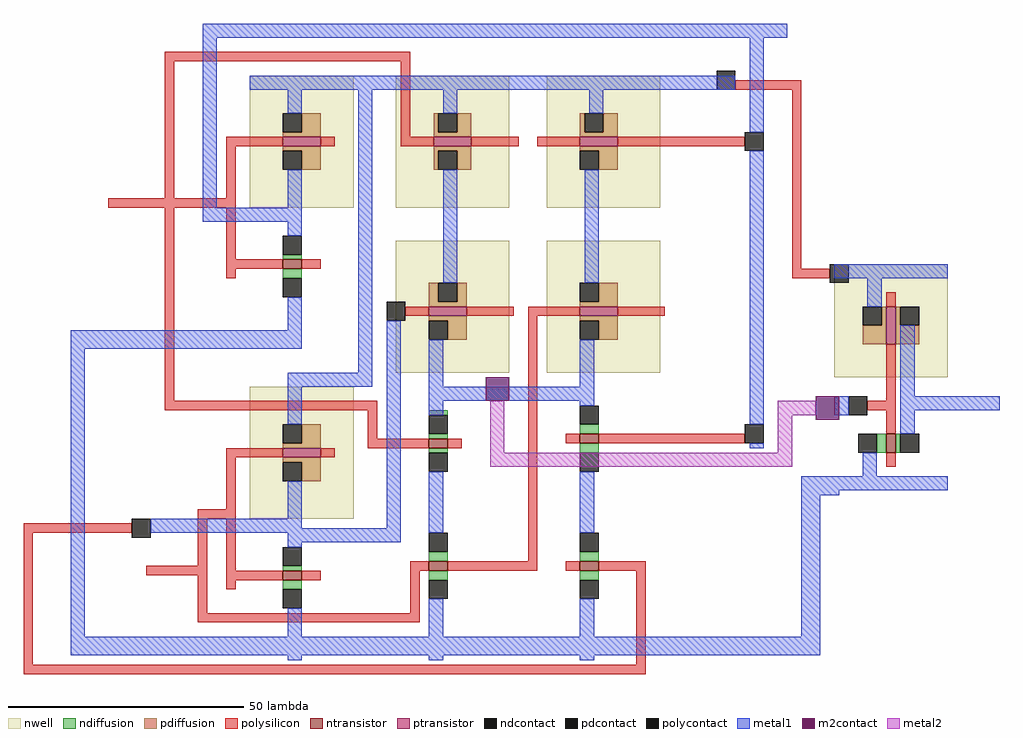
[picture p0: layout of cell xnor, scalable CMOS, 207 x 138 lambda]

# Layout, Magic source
magic
tech scmos
<< polysilicon >>
rect -54 91 -40 93
rect -187 66 -175 68
rect -42 53 -40 91
rect -42 51 -34 53
rect -179 -12 -167 -10
<< polycontact >>
rect -58 91 -54 95
rect -34 50 -30 54
<< metal1 >>
rect -11 23 2 26
rect -40 5 -32 9
rect -40 -25 -36 5
rect -85 -29 -36 -25
<< m2contact >>
rect -107 25 -102 30
rect -37 21 -32 26
<< metal2 >>
rect -106 14 -103 25
rect -45 22 -37 25
rect -45 14 -42 22
rect -106 11 -42 14
use xor  xor_0
transform 1 0 -118 0 1 58
box -87 -91 75 47
use not  not_0
transform 1 0 -21 0 1 39
box -12 -33 12 15
<< end >>

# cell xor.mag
magic
tech scmos
<< nwell >>
rect -39 8 -17 36
rect -8 8 16 36
rect 24 8 48 36
rect -8 -27 16 1
rect 24 -27 48 1
rect -39 -58 -17 -30
<< ntransistor >>
rect -32 -5 -28 -3
rect -1 -43 3 -41
rect 31 -42 35 -40
rect -1 -69 3 -67
rect 31 -69 35 -67
rect -32 -71 -28 -69
<< ptransistor >>
rect -32 21 -24 23
rect 0 21 8 23
rect 31 21 39 23
rect -1 -15 7 -13
rect 31 -15 39 -13
rect -32 -45 -24 -43
<< ndiffusion >>
rect -32 -3 -28 -2
rect -32 -7 -28 -5
rect -1 -36 3 -35
rect -1 -41 3 -40
rect -1 -44 3 -43
rect -1 -67 3 -65
rect 31 -40 35 -38
rect 31 -44 35 -42
rect 31 -67 35 -65
rect -32 -69 -28 -68
rect -32 -73 -28 -71
rect -1 -71 3 -69
rect 31 -71 35 -69
<< pdiffusion >>
rect -28 24 -24 28
rect -32 23 -24 24
rect 0 24 1 28
rect 5 24 8 28
rect 0 23 8 24
rect 31 24 32 28
rect 36 24 39 28
rect 31 23 39 24
rect -32 20 -24 21
rect -28 16 -24 20
rect 0 20 8 21
rect 0 16 1 20
rect 5 16 8 20
rect 31 20 39 21
rect 35 16 39 20
rect -1 -12 1 -8
rect 5 -12 7 -8
rect -1 -13 7 -12
rect 35 -12 39 -8
rect 31 -13 39 -12
rect -1 -16 7 -15
rect 3 -20 7 -16
rect -28 -42 -24 -38
rect -32 -43 -24 -42
rect -32 -46 -24 -45
rect -28 -50 -24 -46
rect 31 -16 39 -15
rect 35 -20 39 -16
<< ndcontact >>
rect -32 -2 -28 2
rect -32 -11 -28 -7
rect -1 -40 3 -36
rect -1 -48 3 -44
rect -32 -68 -28 -64
rect -1 -65 3 -61
rect 31 -38 35 -34
rect 31 -48 35 -44
rect 31 -65 35 -61
rect -32 -77 -28 -73
rect -1 -75 3 -71
rect 31 -75 35 -71
<< pdcontact >>
rect -32 24 -28 28
rect 1 24 5 28
rect 32 24 36 28
rect -32 16 -28 20
rect 1 16 5 20
rect 31 16 35 20
rect 1 -12 5 -8
rect 31 -12 35 -8
rect -1 -20 3 -16
rect -32 -42 -28 -38
rect -32 -50 -28 -46
rect 31 -20 35 -16
<< polysilicon >>
rect -57 39 -5 41
rect -57 10 -55 39
rect -7 23 -5 39
rect -44 21 -32 23
rect -24 21 -21 23
rect -7 21 0 23
rect 8 21 18 23
rect 22 21 31 23
rect 39 21 66 23
rect -44 10 -42 21
rect -57 8 -42 10
rect -57 -33 -55 8
rect -44 -3 -42 8
rect -44 -5 -32 -3
rect -28 -5 -24 -3
rect -44 -7 -42 -5
rect -6 -15 -1 -13
rect 7 -15 17 -13
rect 20 -15 31 -13
rect 39 -15 49 -13
rect -57 -35 -12 -33
rect -14 -41 -12 -35
rect -14 -43 -1 -41
rect 3 -43 6 -41
rect -44 -45 -32 -43
rect -24 -45 -21 -43
rect -44 -56 -42 -45
rect -50 -58 -42 -56
rect -87 -61 -64 -59
rect -87 -89 -85 -61
rect -50 -78 -48 -58
rect -44 -69 -42 -58
rect 20 -67 22 -15
rect 28 -42 31 -40
rect 35 -42 66 -40
rect -5 -69 -1 -67
rect 3 -69 22 -67
rect 28 -69 31 -67
rect 35 -69 45 -67
rect -44 -71 -32 -69
rect -28 -71 -24 -69
rect -44 -73 -42 -71
rect -5 -78 -3 -69
rect -50 -80 -3 -78
rect 43 -89 45 -69
rect -87 -91 45 -89
<< polycontact >>
rect 66 20 70 24
rect -10 -16 -6 -12
rect -64 -62 -60 -58
rect 66 -42 70 -38
<< metal1 >>
rect -49 44 75 47
rect -49 8 -46 44
rect -39 33 64 36
rect -31 28 -28 33
rect -31 8 -28 16
rect -49 5 -28 8
rect -31 2 -28 5
rect -31 -18 -28 -11
rect -77 -22 -28 -18
rect -77 -83 -74 -22
rect -16 -27 -13 33
rect 2 28 5 33
rect 33 28 36 33
rect 67 24 70 44
rect 2 -8 5 16
rect 32 -8 35 16
rect -31 -30 -13 -27
rect -31 -38 -28 -30
rect -31 -58 -28 -50
rect -60 -60 -28 -58
rect -10 -60 -7 -16
rect -1 -30 2 -20
rect 31 -30 34 -20
rect -1 -33 34 -30
rect -1 -36 2 -33
rect 31 -34 34 -33
rect 67 -38 70 20
rect 67 -43 70 -42
rect -60 -61 -7 -60
rect -31 -63 -7 -61
rect -1 -61 2 -48
rect 31 -61 34 -48
rect -31 -64 -28 -63
rect -31 -83 -28 -77
rect -1 -83 2 -75
rect 31 -83 34 -75
rect -77 -87 37 -83
rect -31 -88 -28 -87
rect -1 -88 2 -87
rect 31 -88 34 -87
<< end >>

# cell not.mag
magic
tech scmos
<< nwell >>
rect -12 -9 12 15
<< ntransistor >>
rect -1 -25 1 -21
<< ptransistor >>
rect -1 -2 1 6
<< ndiffusion >>
rect -3 -25 -1 -21
rect 1 -25 2 -21
<< pdiffusion >>
rect -2 2 -1 6
rect -6 -2 -1 2
rect 1 2 2 6
rect 1 -2 6 2
<< ndcontact >>
rect -7 -25 -3 -21
rect 2 -25 6 -21
<< pdcontact >>
rect -6 2 -2 6
rect 2 2 6 6
<< polysilicon >>
rect -1 6 1 9
rect -1 -14 1 -2
rect -5 -16 1 -14
rect -1 -21 1 -16
rect -1 -28 1 -25
<< polycontact >>
rect -9 -17 -5 -13
<< metal1 >>
rect -12 12 12 15
rect -5 6 -2 12
rect 2 -13 5 2
rect -12 -17 -9 -13
rect 2 -16 12 -13
rect 2 -21 5 -16
rect -6 -30 -3 -25
rect -12 -33 12 -30
<< end >>
